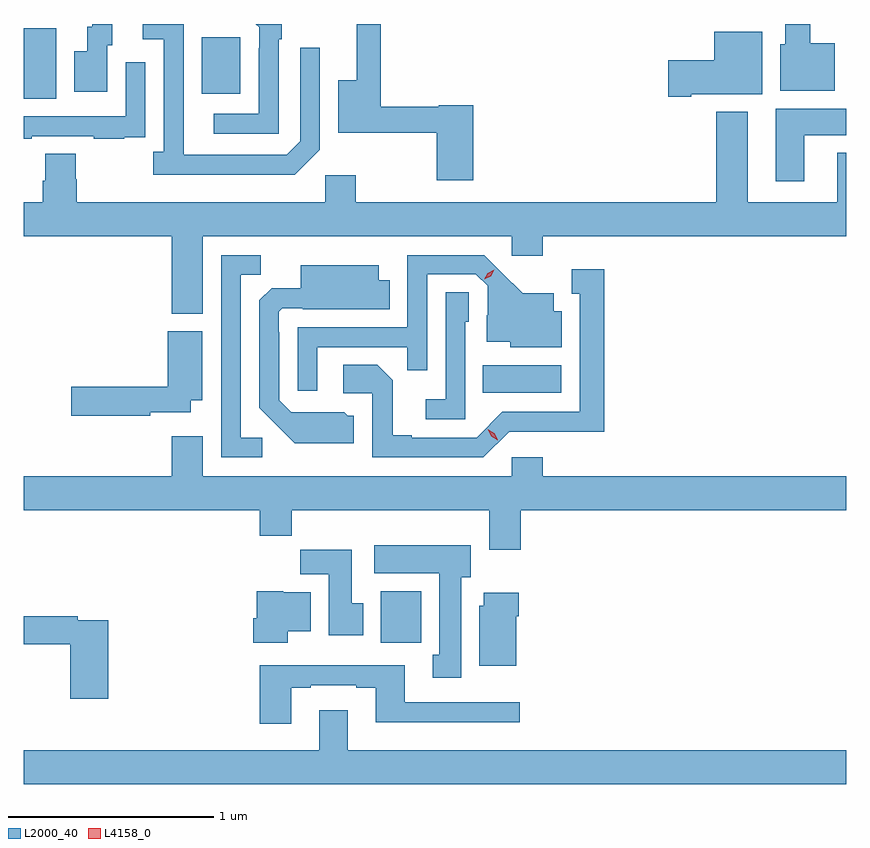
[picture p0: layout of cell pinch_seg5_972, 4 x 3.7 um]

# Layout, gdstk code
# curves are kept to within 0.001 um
import gdstk
lib = gdstk.Library(unit=1e-6, precision=1e-09)
def R(c, l, rs):  # rectangles x0, y0, x1, y1
    for r in rs: c.add(gdstk.rectangle(r[:2], r[2:], *l))
def P(c, l, *ps):  # polygons
    for p in ps: c.add(gdstk.Polygon(p, *l))
L2000_40 = (2000, 40)
L4158_0 = (4158, 0)

pinch_seg5_972 = lib.new_cell('pinch_seg5_972')
R(pinch_seg5_972, L2000_40, [(707.855,906.732,708.051,906.982), (708.352,907.946,708.733,908.08), (706.119,909.376,706.276,909.72), (706.985,909.401,707.173,909.676)])
P(pinch_seg5_972, L2000_40, [(706.525,909.636),(706.549,909.636),(706.549,909.74),(706.452,909.74),(706.452,909.726),(706.427,909.726),(706.427,909.607),(706.364,909.607),(706.364,909.411),(706.525,909.411)],
  [(707.559,909.129),(707.559,909.625),(707.463,909.625),(707.463,909.171),(707.397,909.105),(706.897,909.105),(706.896,909.74),(706.698,909.74),(706.698,909.666),(706.8,909.666),(706.8,909.118),(706.749,909.118),(706.749,909.008),(707.438,909.008)],
  [(708.305,909.346),(708.138,909.346),(708.138,909.338),(707.855,909.338),(707.855,909.74),(707.738,909.74),(707.738,909.466),(707.648,909.466),(707.648,909.21),(708.127,909.21),(708.127,908.979),(708.305,908.979)],
  [(707.358,909.665),(707.373,909.665),(707.373,909.74),(707.248,909.74),(707.265,909.723),(707.265,909.623),(707.262,909.623),(707.262,909.303),(707.043,909.303),(707.043,909.207),(707.358,909.207)],
  [(710.062,909.646),(709.945,909.646),(709.945,909.74),(709.823,909.74),(709.823,909.642),(709.799,909.642),(709.799,909.416),(710.062,909.416)],
  [(709.366,909.398),(709.711,909.398),(709.711,909.703),(709.478,909.703),(709.478,909.564),(709.254,909.564),(709.254,909.386),(709.366,909.386)],
  [(706.159,909.195),(706.459,909.195),(706.459,909.183),(706.607,909.183),(706.607,909.189),(706.709,909.189),(706.709,909.298),(706.71,909.298),(706.71,909.553),(706.614,909.553),(706.614,909.291),(706.119,909.291),(706.119,909.183),(706.159,909.183)],
  [(709.915,909.2),(710.119,909.2),(710.119,909.328),(709.775,909.328),(709.775,908.976),(709.915,908.976)],
  [(706.838,908.33),(706.99,908.33),(706.99,908.708),(708.492,908.708),(708.492,908.613),(708.644,908.613),(708.644,908.708),(710.119,908.708),(710.119,909.115),(710.075,909.115),(710.075,908.872),(709.639,908.872),(709.639,909.313),(709.487,909.313),(709.487,908.872),(707.733,908.872),(707.733,909.004),(707.586,909.004),(707.586,908.872),(706.376,908.872),(706.376,908.985),(706.371,908.985),(706.371,909.11),(706.223,909.11),(706.223,908.978),(706.211,908.978),(706.211,908.872),(706.119,908.872),(706.119,908.708),(706.838,908.708)],
  [(707.547,908.169),(707.983,908.169),(707.983,908.056),(708.081,908.056),(708.081,908.523),(708.318,908.523),(708.375,908.466),(708.375,908.324),(708.371,908.324),(708.371,908.195),(708.486,908.195),(708.486,908.168),(708.736,908.168),(708.736,908.344),(708.697,908.344),(708.697,908.431),(708.545,908.431),(708.358,908.616),(707.985,908.616),(707.985,908.265),(707.451,908.265),(707.451,907.956),(707.547,907.956)],
  [(707.278,907.728),(707.175,907.728),(707.175,908.521),(707.271,908.521),(707.271,908.616),(707.079,908.616),(707.079,907.632),(707.278,907.632)],
  [(707.725,907.836),(707.694,907.836),(707.678,907.852),(707.421,907.851),(707.361,907.911),(707.361,908.24),(707.358,908.24),(707.358,908.34),(707.376,908.358),(707.476,908.358),(707.476,908.354),(707.9,908.354),(707.9,908.494),(707.845,908.494),(707.845,908.566),(707.465,908.566),(707.465,908.455),(707.324,908.455),(707.265,908.396),(707.265,907.874),(707.437,907.7),(707.725,907.7)],
  [(708.48,907.758),(708.943,907.757),(708.943,908.548),(708.785,908.548),(708.785,908.427),(708.824,908.427),(708.824,907.854),(708.447,907.854),(708.321,907.728),(708.007,907.728),(708.007,907.741),(707.913,907.741),(707.913,908.008),(707.837,908.084),(707.673,908.084),(707.673,907.944),(707.814,907.944),(707.814,907.632),(708.354,907.632)],
  [(708.267,908.292),(708.282,908.292),(708.282,908.435),(708.171,908.435),(708.171,907.915),(708.075,907.915),(708.075,907.818),(708.267,907.818)],
  [(706.734,907.853),(706.93,907.853),(706.93,907.91),(706.987,907.91),(706.987,908.245),(706.82,908.245),(706.82,907.976),(706.35,907.976),(706.35,907.834),(706.734,907.834)],
  [(708.536,907.376),(710.119,907.376),(710.119,907.54),(708.644,907.54),(708.644,907.633),(708.492,907.633),(708.492,907.54),(706.99,907.54),(706.99,907.735),(706.838,907.735),(706.838,907.54),(706.119,907.54),(706.119,907.376),(707.267,907.376),(707.267,907.252),(707.423,907.252),(707.423,907.376),(708.383,907.376),(708.383,907.182),(708.536,907.182)],
  [(708.247,907.05),(708.292,907.05),(708.292,907.204),(707.823,907.204),(707.823,907.07),(708.14,907.07),(708.14,906.673),(708.107,906.673),(708.107,906.561),(708.247,906.561)],
  [(707.77,906.924),(707.713,906.924),(707.713,907.183),(707.464,907.183),(707.464,907.064),(707.603,907.064),(707.603,906.768),(707.77,906.768)],
  [(707.404,906.788),(707.515,906.788),(707.515,906.976),(707.382,906.976),(707.382,906.982),(707.252,906.982),(707.252,906.849),(707.234,906.849),(707.234,906.731),(707.404,906.731)],
  [(708.514,906.86),(708.527,906.86),(708.527,906.973),(708.356,906.973),(708.356,906.912),(708.335,906.912),(708.335,906.62),(708.514,906.62)],
  [(706.529,906.84),(706.382,906.84),(706.382,906.86),(706.119,906.86),(706.119,906.724),(706.346,906.724),(706.346,906.459),(706.529,906.459)],
  [(707.419,906.513),(707.515,906.513),(707.515,906.525),(707.735,906.525),(707.735,906.513),(707.831,906.513),(707.831,906.344),(708.532,906.344),(708.532,906.441),(707.971,906.441),(707.971,906.622),(707.267,906.622),(707.267,906.336),(707.419,906.336)],
  [(710.119,906.208),(707.695,906.208),(707.695,906.403),(707.555,906.403),(707.555,906.208),(706.119,906.208),(706.119,906.044),(710.119,906.044)])
P(pinch_seg5_972, L4158_0, [(708.359,908.499),(708.359,908.499),(708.376,908.529),(708.407,908.544),(708.407,908.544),(708.407,908.544),(708.39,908.514),(708.359,908.499)],
  [(708.424,907.716),(708.392,907.736),(708.375,907.769),(708.375,907.769),(708.376,907.769),(708.407,907.749),(708.424,907.717),(708.424,907.716)])

lib.write_gds('pinch_seg5_972.gds')
